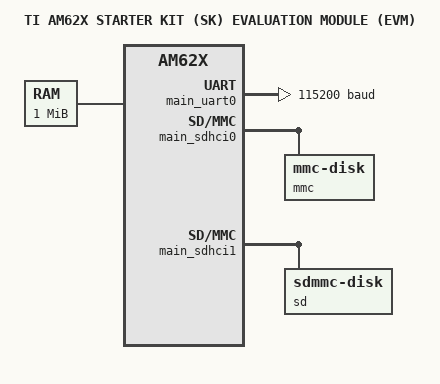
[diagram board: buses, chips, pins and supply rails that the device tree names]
/*
 * Copyright (c) 2025 Texas Instruments Incorporated
 *
 * SPDX-License-Identifier: Apache-2.0
 */

/dts-v1/;

#include <ti/ti_am6234_a53.dtsi>
#include "sk-am62_am6234_a53-pinctrl.dtsi"

/ {
	model = "TI AM62X STARTER KIT (SK) EVALUATION MODULE (EVM)";
	compatible = "ti,am62x_a53_sk";

	chosen {
		zephyr,console = &main_uart0;
		zephyr,shell-uart = &main_uart0;
		zephyr,sram = &ddr0;
	};

	cpus {
		cpu@0 {
			status = "okay";
		};

		cpu@1 {
			status = "disabled";
		};

		cpu@2 {
			status = "disabled";
		};

		cpu@3 {
			status = "disabled";
		};
	};

	ddr0: memory@82000000 {
		/* Note: This board actually has 2GB DRAM available */
		reg = <0x82000000 DT_SIZE_M(1)>;
	};
};

&main_uart0 {
	current-speed = <115200>;
	pinctrl-0 = <&uart0_rx_default &uart0_tx_default>;
	pinctrl-names = "default";
	status = "okay";
};

/* eMMC */
&main_sdhci0 {
	status = "okay";
	pinctrl-0 = <&mmc0_cmd
		     &mmc0_clk
		     &mmc0_dat0
		     &mmc0_dat1
		     &mmc0_dat2
		     &mmc0_dat3
		     &mmc0_dat4
		     &mmc0_dat5
		     &mmc0_dat6
		     &mmc0_dat7>;
	pinctrl-names = "default";

	mmc {
		compatible = "zephyr,mmc-disk";
		bus-width = <8>;
		disk-name = "emmc";
	};
};

/* SD */
&main_sdhci1 {
	status = "okay";
	pinctrl-0 = <&mmc1_cmd
		     &mmc1_clk
		     &mmc1_dat0
		     &mmc1_dat1
		     &mmc1_dat2
		     &mmc1_dat2
		     &mmc1_dat3
		     &mmc1_sdcd>;
	pinctrl-names = "default";

	sd {
		compatible = "zephyr,sdmmc-disk";
		disk-name = "sd";
	};
};

/* SDIO */
&main_sdhci2 {
	status = "disabled";
	pinctrl-0 = <&mmc2_cmd
		     &mmc2_clk
		     &mmc2_dat0
		     &mmc2_dat1
		     &mmc2_dat2
		     &mmc2_dat2
		     &mmc2_dat3>;
	pinctrl-names = "default";
	ti,fails-without-test-cd;
};
